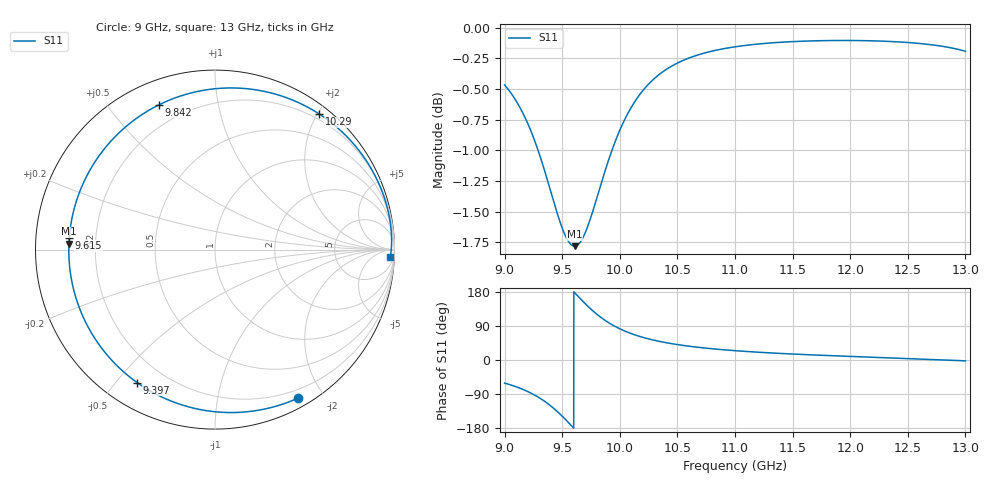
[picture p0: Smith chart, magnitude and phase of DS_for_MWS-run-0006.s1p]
! TOUCHSTONE file generated by CST DESIGN STUDIO
! Date and time: Tue Feb  4 17:36:26 2025
! Project name: C:\Work\MatlabApps\UnitCellOptimizationMatlab\CST\unitcell.cst
! Tree item: Tasks\Sweep1\SPara1\S-Parameters
! Header version: 2024
! Port assignment regex: !\s*Touchstone port\s*([0-9]+)\s*=\s*(CST MWS port|CST DES external port|CST DES block port)\s*(.+)\s* \(\"(.*)\"\)(\s*mode\s*([0-9]+))?.*
! Touchstone port assignment:
! Touchstone port 1 = CST DES external port 1 ("")
# GHz S MA R 50
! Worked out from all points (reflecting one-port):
!   4001 points, 9 GHz to 13 GHz, reference 50 ohm
!   lowest |S11| = -1.8 dB at 9.608 GHz (marker M1), VSWR 9.79, Z = 5.11 + j1.01 ohm
!   phase of S11 starts at -61 deg and turns -301 deg over the sweep
!   S11 on the Smith chart (normalised r, x): 9 GHz: 0.10, -1.69; 9.397 GHz: 0.10, -0.57; 9.615 GHz: 0.10, +0.04; 9.842 GHz: 0.11, +0.68; 10.29 GHz: 0.12, +2.03; 13 GHz: 20, -38
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9  0.9477 -61.0
9.05  0.9412 -65.5
9.12  0.9302 -72.9
9.242  0.9043 -89.5
9.324  0.8815 -104.2
9.397  0.8586 -120.3
9.448  0.8427 -133.4
9.5  0.8285 -148.2
9.556  0.818 -165.6
9.608  0.8146 177.7
9.615  0.8146 175.4
9.672  0.8198 157.2
9.735  0.8332 138.3
9.788  0.8484 124.0
9.842  0.865 111.0
9.915  0.8867 96.2
10  0.9083 82.3
10.068  0.9224 73.3
10.138  0.9342 65.6
10.213  0.9443 58.6
10.295  0.953 52.4
10.5  0.9674 40.7
10.72  0.9761 32.2
11  0.9823 24.6
11.5  0.9871 15.7
12  0.9881 9.5
12.5  0.9863 4.0
13  0.9782 -2.3
